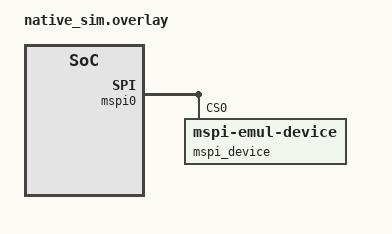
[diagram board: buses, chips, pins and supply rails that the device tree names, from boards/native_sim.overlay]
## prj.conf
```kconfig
# Copyright (c) 2024 Ambiq Micro Inc. <www.ambiq.com>
# SPDX-License-Identifier: Apache-2.0

CONFIG_ZTEST=y
CONFIG_MSPI=y
CONFIG_EMUL=y
```

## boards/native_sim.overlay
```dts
/*
 * Copyright (c) 2024 Ambiq Micro Inc. <www.ambiq.com>
 *
 * SPDX-License-Identifier: Apache-2.0
 */

&mspi0 {

	mspi_device: mspi_device@0 {
		status = "okay";
		compatible = "zephyr,mspi-emul-device";
		reg = <0x0>;
		mspi-max-frequency = <48000000>;
	};

};
```

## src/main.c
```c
/*
 * Copyright (c) 2024 Ambiq Micro Inc. <www.ambiq.com>
 * SPDX-License-Identifier: Apache-2.0
 */

#include <zephyr/device.h>
#include <zephyr/drivers/mspi.h>
#include <zephyr/drivers/mspi_emul.h>
#include <zephyr/ztest.h>

#define TEST_MSPI_REINIT    1

/* add else if for other SoC platforms */
#if defined(CONFIG_SOC_POSIX)
typedef struct mspi_timing_cfg mspi_timing_cfg;
typedef enum mspi_timing_param mspi_timing_param;
#endif

#define MSPI_BUS_NODE       DT_NODELABEL(mspi0)

#define DT_NUM_CHILD(n) (DT_FOREACH_CHILD_SEP_VARGS(n, DT_CAT, (+), _EXISTS))

static const struct device *mspi_devices[] = {
	DT_FOREACH_CHILD_STATUS_OKAY_SEP(MSPI_BUS_NODE, DEVICE_DT_GET, (,))
};

static struct gpio_dt_spec ce_gpios[] = MSPI_CE_GPIOS_DT_SPEC_GET(MSPI_BUS_NODE);

#if TEST_MSPI_REINIT
struct mspi_cfg hardware_cfg = {
	.ui8MSPIChannel           = 0,
	.eOPMode                  = DT_PROP_OR(MSPI_BUS_NODE, op_mode, MSPI_OP_MODE_MASTER),
	.eDuplex                  = DT_PROP_OR(MSPI_BUS_NODE, duplex, MSPI_HALF_DUPLEX),
	.bDQS                     = DT_PROP_OR(MSPI_BUS_NODE, dqs_support, false),
	.pCE                      = ce_gpios,
	.ui32CeGpioNum            = ARRAY_SIZE(ce_gpios),
	.ui32SlaveNum             = DT_NUM_CHILD(MSPI_BUS_NODE),
	.ui32MaxFreq              = DT_PROP(MSPI_BUS_NODE, clock_frequency),
	.bReinit                  = true,
};
#endif


static struct mspi_dev_id dev_id[] = {
	DT_FOREACH_CHILD_STATUS_OKAY_SEP(MSPI_BUS_NODE, MSPI_DEVICE_ID_DT, (,))
};

static struct mspi_dev_cfg device_cfg[] = {
	DT_FOREACH_CHILD_STATUS_OKAY_SEP(MSPI_BUS_NODE, MSPI_DEVICE_CONFIG_DT, (,))
};

static struct mspi_xip_cfg xip_cfg[] = {
	DT_FOREACH_CHILD_STATUS_OKAY_SEP(MSPI_BUS_NODE, MSPI_XIP_CONFIG_DT, (,))
};

static struct mspi_scramble_cfg scramble_cfg[] = {
	DT_FOREACH_CHILD_STATUS_OKAY_SEP(MSPI_BUS_NODE, MSPI_SCRAMBLE_CONFIG_DT, (,))
};

ZTEST(mspi_api, test_mspi_api)
{
	int ret = 0;
	const struct device *mspi_bus = DEVICE_DT_GET(MSPI_BUS_NODE);

	zassert_true(device_is_ready(mspi_bus), "mspi_bus is not ready");

#if TEST_MSPI_REINIT
	const struct mspi_dt_spec spec = {
		.bus    = mspi_bus,
		.config = hardware_cfg,
	};

	ret = mspi_config(&spec);
	zassert_equal(ret, 0, "mspi_config failed.");
#endif

	for (int dev_idx = 0; dev_idx < ARRAY_SIZE(mspi_devices); ++dev_idx) {

		zassert_true(device_is_ready(mspi_devices[dev_idx]), "mspi_device is not ready");

		ret = mspi_dev_config(mspi_bus, &dev_id[dev_idx],
				      MSPI_DEVICE_CONFIG_ALL, &device_cfg[dev_idx]);
		zassert_equal(ret, 0, "mspi_dev_config failed.");

#if CONFIG_MSPI_XIP
		ret = mspi_xip_config(mspi_bus, &dev_id[dev_idx], &xip_cfg[dev_idx]);
		zassert_equal(ret, 0, "mspi_xip_config failed.");
#endif

#if CONFIG_MSPI_SCRAMBLE
		ret = mspi_scramble_config(mspi_bus, &dev_id[dev_idx], &scramble_cfg[dev_idx]);
		zassert_equal(ret, 0, "mspi_scramble_config failed.");
#endif

#if CONFIG_MSPI_TIMING
		mspi_timing_cfg timing_cfg;
		mspi_timing_param timing_cfg_mask = 0;
		ret = mspi_timing_config(mspi_bus, &dev_id[dev_idx], timing_cfg_mask, &timing_cfg);
		zassert_equal(ret, 0, "mspi_timing_config failed.");
#endif

		ret = mspi_register_callback(mspi_bus, &dev_id[dev_idx],
					     MSPI_BUS_XFER_COMPLETE, NULL, NULL);
		zassert_equal(ret, 0, "mspi_register_callback failed.");

		ret = mspi_get_channel_status(mspi_bus, 0);
		zassert_equal(ret, 0, "mspi_get_channel_status failed.");

	}
}

ZTEST_SUITE(mspi_api, NULL, NULL, NULL, NULL, NULL);
```
